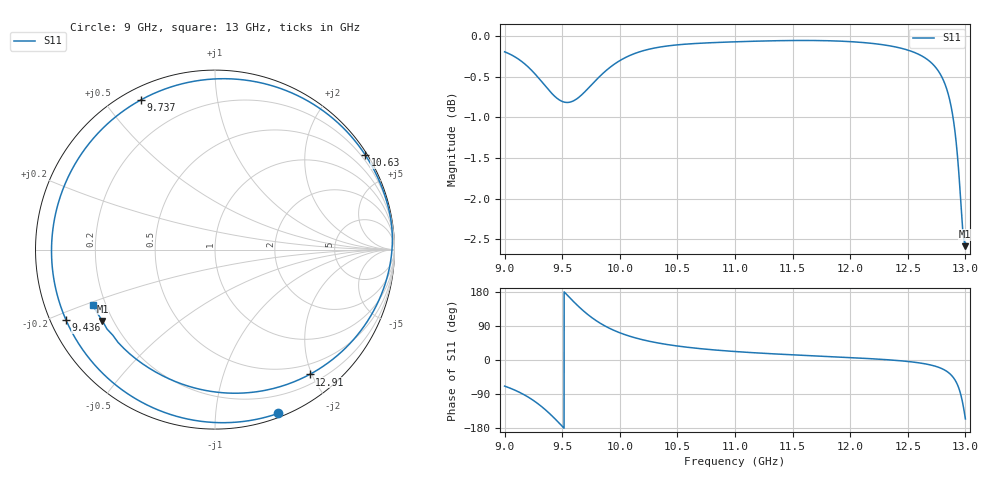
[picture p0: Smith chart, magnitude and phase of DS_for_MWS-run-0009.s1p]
! TOUCHSTONE file generated by CST DESIGN STUDIO
! Date and time: Tue Feb  4 17:43:56 2025
! Project name: C:\Work\MatlabApps\UnitCellOptimizationMatlab\CST\unitcell.cst
! Tree item: Tasks\Sweep1\SPara1\S-Parameters
! Header version: 2024
! Port assignment regex: !\s*Touchstone port\s*([0-9]+)\s*=\s*(CST MWS port|CST DES external port|CST DES block port)\s*(.+)\s* \(\"(.*)\"\)(\s*mode\s*([0-9]+))?.*
! Touchstone port assignment:
! Touchstone port 1 = CST DES external port 1 ("")
# GHz S MA R 50
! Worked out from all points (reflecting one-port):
!   4001 points, 9 GHz to 13 GHz, reference 50 ohm
!   lowest |S11| = -2.6 dB at 13 GHz (marker M1), VSWR 6.77, Z = 8 - j14.2 ohm
!   phase of S11 starts at -69 deg and turns -447 deg over the sweep
!   S11 on the Smith chart (normalised r, x): 9 GHz: 0.03, -1.46; 9.436 GHz: 0.04, -0.22; 9.737 GHz: 0.05, +0.62; 10.63 GHz: 0.07, +3.47; 12.91 GHz: 0.34, -1.97; 13 GHz: 0.15, -0.21
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9  0.9781 -68.9
9.121  0.9679 -84.1
9.253  0.9497 -107.4
9.345  0.9333 -129.0
9.436  0.9182 -154.8
9.5  0.9116 -174.8
9.549  0.9103 169.6
9.6  0.9126 153.7
9.669  0.9202 133.7
9.737  0.9306 116.5
9.849  0.948 93.6
10  0.966 71.8
10.216  0.9802 52.1
10.5  0.9878 36.9
10.63  0.9894 32.1
11  0.9921 22.4
11.5  0.9939 13.6
12  0.9923 6.3
12.5  0.9805 -3.9
12.672  0.9673 -11.4
12.792  0.9449 -22.2
12.862  0.9148 -35.4
12.91  0.873 -52.8
12.935  0.8377 -68.0
12.959  0.7927 -90.2
12.974  0.764 -109.8
12.996  0.7425 -147.7
13  0.746 -155.4
